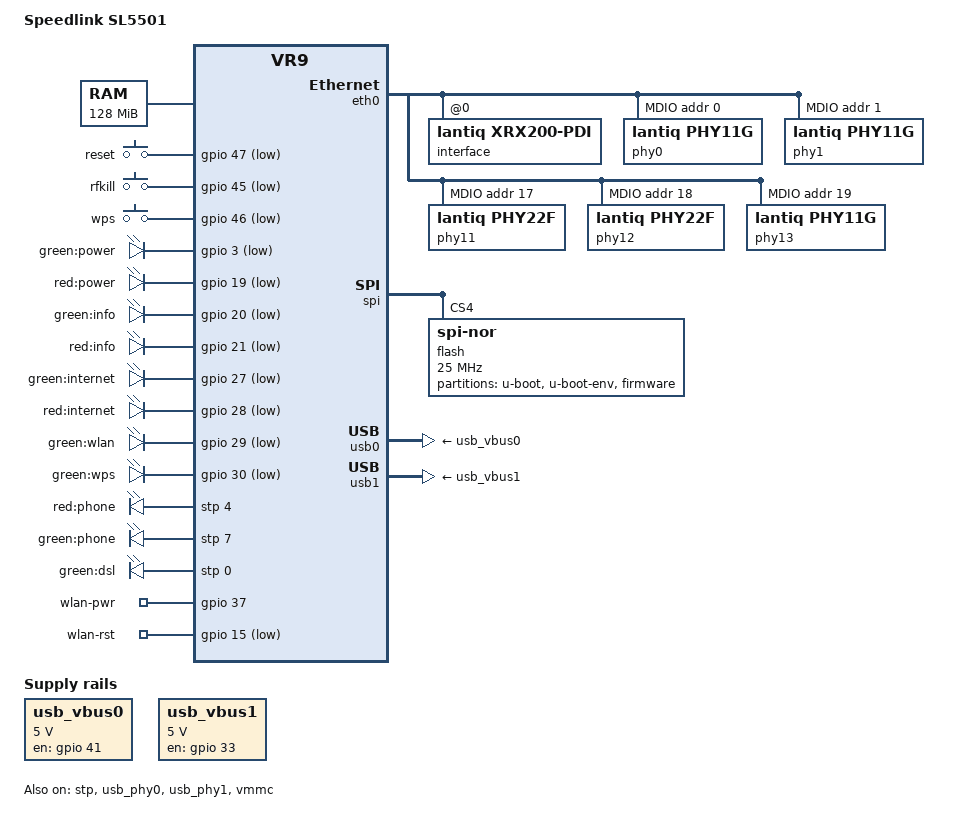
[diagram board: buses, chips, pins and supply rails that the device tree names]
#include "vr9.dtsi"

#include <dt-bindings/input/input.h>
#include <dt-bindings/mips/lantiq_rcu_gphy.h>

/ {
	compatible = "zyxel,sl5501", "lantiq,xway", "lantiq,vr9";
	model = "Speedlink SL5501";

	chosen {
		bootargs = "console=ttyLTQ0,115200 mem=116M phym=128M vpe1_load_addr=0x87e00000 vpe1_mem=2M maxvpes=1 maxtcs=1 nosmp";
	};

	aliases {
		led-boot = &power_red;
		led-failsafe = &power_green;
		led-running = &power_green;
		led-upgrade = &power_green;
		led-dsl = &dsl_green;
	};

	memory@0 {
		device_type = "memory";
		reg = <0x0 0x8000000>;
	};

	keys {
		compatible = "gpio-keys-polled";
		poll-interval = <100>;

		reset {
			label = "reset";
			gpios = <&gpio 47 GPIO_ACTIVE_LOW>;
			linux,code = <KEY_RESTART>;
		};
		rfkill {
			label = "rfkill";
			gpios = <&gpio 45 GPIO_ACTIVE_LOW>;
			linux,code = <KEY_RFKILL>;
		};
		wps {
			label = "wps";
			gpios = <&gpio 46 GPIO_ACTIVE_LOW>;
			linux,code = <KEY_WPS_BUTTON>;
		};
	};

	leds {
		compatible = "gpio-leds";

		power_green: power_green {
			label = "green:power";
			gpios = <&gpio 3 GPIO_ACTIVE_LOW>;
			default-state = "keep";
		};
		power_red: power_red {
			label = "red:power";
			gpios = <&gpio 19 GPIO_ACTIVE_LOW>;
			default-state = "on";
		};
		info_green: info_green {
			label = "green:info";
			gpios = <&gpio 20 GPIO_ACTIVE_LOW>;
			default-state = "keep";
		};
		info_red: info_red {
			label = "red:info";
			gpios = <&gpio 21 GPIO_ACTIVE_LOW>;
			default-state = "keep";
		};
		internet_green: internet_green {
			label = "green:internet";
			gpios = <&gpio 27 GPIO_ACTIVE_LOW>;
			default-state = "keep";
		};
		internet_red: internet_red {
			label = "red:internet";
			gpios = <&gpio 28 GPIO_ACTIVE_LOW>;
			default-state = "keep";
		};
		wlan_green: wlan_green {
			label = "green:wlan";
			gpios = <&gpio 29 GPIO_ACTIVE_LOW>;
			default-state = "keep";
		};
		wps_green: wps {
			label = "green:wps";
			gpios = <&gpio 30 GPIO_ACTIVE_LOW>;
			default-state = "keep";
		};
		phone_red: phone_red {
			label = "red:phone";
			gpios = <&stp 4 GPIO_ACTIVE_HIGH>;
			default-state = "keep";
		};
		phone_green: phone_green {
			label = "green:phone";
			gpios = <&stp 7 GPIO_ACTIVE_HIGH>;
			default-state = "keep";
		};
		dsl_green: dsl_green {
			label = "green:dsl";
			gpios = <&stp 0 GPIO_ACTIVE_HIGH>;
			default-state = "keep";
		};
	};

	gpio_export {
		compatible = "gpio-export";
		#size-cells = <0>;

		out_37 {
			gpio-export,name = "wlan-pwr";
			gpio-export,output = <1>;
			gpios = <&gpio 37 GPIO_ACTIVE_HIGH>;
		};
		out_15 {
			gpio-export,name = "wlan-rst";
			gpio-export,output = <1>;
			gpios = <&gpio 15 GPIO_ACTIVE_LOW>;
		};
	};

	usb_vbus0: regulator-usb-vbus0 {
		compatible = "regulator-fixed";

		regulator-name = "USB_VBUS0";

		regulator-min-microvolt = <5000000>;
		regulator-max-microvolt = <5000000>;

		gpio = <&gpio 41 GPIO_ACTIVE_HIGH>;
		enable-active-high;
	};

	usb_vbus1: regulator-usb-vbus1 {
		compatible = "regulator-fixed";

		regulator-name = "USB_VBUS1";

		regulator-min-microvolt = <5000000>;
		regulator-max-microvolt = <5000000>;

		gpio = <&gpio 33 GPIO_ACTIVE_HIGH>;
		enable-active-high;
	};
};

&eth0 {
	pinctrl-0 = <&mdio_pins>,
		    <&gphy0_led1_pins>, <&gphy0_led2_pins>,
		    <&gphy1_led1_pins>, <&gphy1_led2_pins>;
	pinctrl-names = "default";

	interface@0 {
		compatible = "lantiq,xrx200-pdi";
		#address-cells = <1>;
		#size-cells = <0>;
		reg = <0>;
		lantiq,switch;

		ethernet@0 { /* WAN 1000 */
			compatible = "lantiq,xrx200-pdi-port";
			reg = <0>;
			phy-mode = "rgmii";
			phy-handle = <&phy0>;
		};
		ethernet@1 { /* LAN4 1000 */
			compatible = "lantiq,xrx200-pdi-port";
			reg = <1>;
			phy-mode = "rgmii";
			phy-handle = <&phy1>;
		};
		ethernet@2 { /* LAN1 100 */
			compatible = "lantiq,xrx200-pdi-port";
			reg = <2>;
			phy-mode = "mii";
			phy-handle = <&phy11>;
		};
		ethernet@3 { /* LAN2 100 */
			compatible = "lantiq,xrx200-pdi-port";
			reg = <3>;
			phy-mode = "mii";
			phy-handle = <&phy12>;
		};
		ethernet@4 { /* LAN3 1000 */
			compatible = "lantiq,xrx200-pdi-port";
			reg = <4>;
			phy-mode = "gmii";
			phy-handle = <&phy13>;
		};
		ethernet@5 { /* WLAN SoC */
			compatible = "lantiq,xrx200-pdi-port";
			reg = <5>;
			phy-mode = "rgmii";
			tx-delay = /bits/ 8 <3>;
			fixed-link {
				speed = <1000>;
				full-duplex;
			};
		};
	};

	mdio {
		#address-cells = <1>;
		#size-cells = <0>;
		compatible = "lantiq,xrx200-mdio";

		phy0: ethernet-phy@0 {
			reg = <0x0>;
			compatible = "lantiq,phy11g", "ethernet-phy-ieee802.3-c22";
			lantiq,led0h = <0x70>;
			lantiq,led0l = <0x03>;
		};
		phy1: ethernet-phy@1 {
			reg = <0x1>;
			compatible = "lantiq,phy11g", "ethernet-phy-ieee802.3-c22";
			lantiq,led0h = <0x70>;
			lantiq,led0l = <0x03>;
		};
		phy11: ethernet-phy@11 {
			reg = <0x11>;
			compatible = "lantiq,phy22f", "ethernet-phy-ieee802.3-c22";
			lantiq,led0h = <0x30>;
			lantiq,led0l = <0x03>;
			lantiq,led1h = <0x30>;
			lantiq,led1l = <0x03>;
		};
		phy12: ethernet-phy@12 {
			reg = <0x12>;
			compatible = "lantiq,phy22f", "ethernet-phy-ieee802.3-c22";
		};
		phy13: ethernet-phy@13 {
			reg = <0x13>;
			compatible = "lantiq,phy11g", "ethernet-phy-ieee802.3-c22";
			lantiq,led0h = <0x70>;
			lantiq,led0l = <0x03>;
		};
	};
};

&gphy0 { /* LAN1-2 100 */
	lantiq,gphy-mode = <GPHY_MODE_FE>;
};

&gphy1 { /* LAN3 1000 */
	lantiq,gphy-mode = <GPHY_MODE_GE>;
};

&spi {
	status = "okay";

	flash@4 {
		compatible = "jedec,spi-nor";
		reg = <4>;
		spi-max-frequency = <25000000>;

		partitions {
			compatible = "fixed-partitions";
			#address-cells = <1>;
			#size-cells = <1>;

			uboot {
				label = "u-boot";
				reg = <0x0000000 0x0080000>;
				read-only;
			};

			uboot-env {
				label = "u-boot-env";
				reg = <0x0080000 0x0040000>;
			};

			firmware {
				label = "firmware";
				reg = <0x00c0000 0x3f40000>;
			};
		};
	};
};

&stp {
	status = "okay";

	lantiq,shadow = <0x0>;
	lantiq,groups = <0x1>;
	lantiq,dsl = <0x0>;
	lantiq,phy1 = <0x3>;
	lantiq,phy2 = <0x3>;
};

&usb_phy0 {
	status = "okay";
};

&usb_phy1 {
	status = "okay";
};

&usb0 {
	status = "okay";
	vbus-supply = <&usb_vbus0>;
};

&usb1 {
	status = "okay";
	vbus-supply = <&usb_vbus1>;
};

&vmmc {
        status = "okay";
	gpios = <&gpio 31 GPIO_ACTIVE_LOW>; // reset SLIC
};
